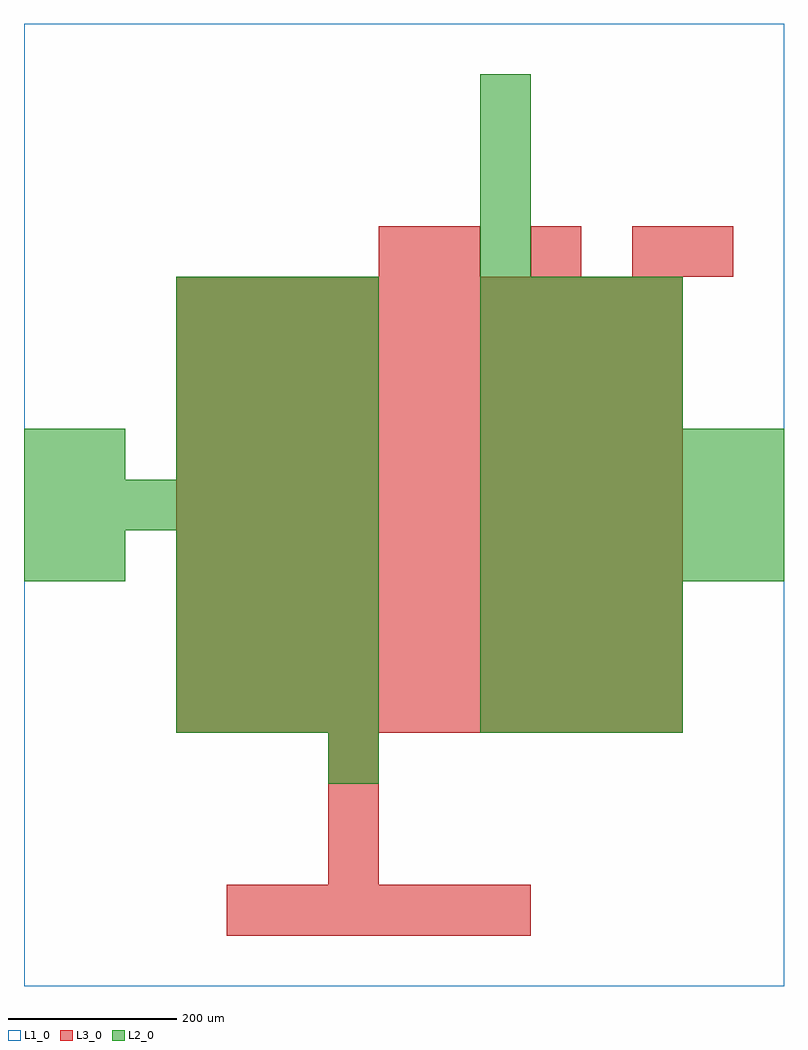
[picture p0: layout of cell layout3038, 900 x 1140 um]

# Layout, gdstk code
import gdstk
lib = gdstk.Library(unit=1e-6, precision=1e-09)
def R(c, l, rs):  # rectangles x0, y0, x1, y1
    for r in rs: c.add(gdstk.rectangle(r[:2], r[2:], *l))
def A(c, l, x, y, w, h, nx, ny, dx, dy):  # array of equal rectangles
    R(c, l, [(x+i*dx, y+j*dy, x+i*dx+w, y+j*dy+h) for i in range(nx) for j in range(ny)])
L1_0 = (1, 0)
L2_0 = (2, 0)
L3_0 = (3, 0)

layout3038 = lib.new_cell('layout3038')
R(layout3038, L1_0, [(0,0,900,1140)])
A(layout3038, L2_0, 180, 300, 60, 60, 4, 4, 60, 60)
A(layout3038, L2_0, 540, 300, 60, 60, 4, 3, 60, 60)
A(layout3038, L2_0, 540, 480, 60, 60, 6, 3, 60, 60)
A(layout3038, L2_0, 0, 540, 60, 60, 7, 1, 60, 0)
A(layout3038, L2_0, 180, 600, 60, 60, 4, 4, 60, 60)
A(layout3038, L2_0, 540, 660, 60, 60, 4, 3, 60, 60)
A(layout3038, L2_0, 540, 840, 60, 60, 1, 4, 0, 60)
R(layout3038, L2_0, [(360,240,420,300), (0,480,60,540), (60,480,120,540), (0,600,60,660), (60,600,120,660)])
A(layout3038, L3_0, 240, 60, 60, 60, 6, 1, 60, 0)
A(layout3038, L3_0, 360, 120, 60, 60, 1, 3, 0, 60)
A(layout3038, L3_0, 180, 300, 60, 60, 10, 9, 60, 60)
A(layout3038, L3_0, 480, 840, 60, 60, 3, 1, 120, 0)
R(layout3038, L3_0, [(420,840,480,900), (780,840,840,900)])

lib.write_gds('layout3038.gds')
